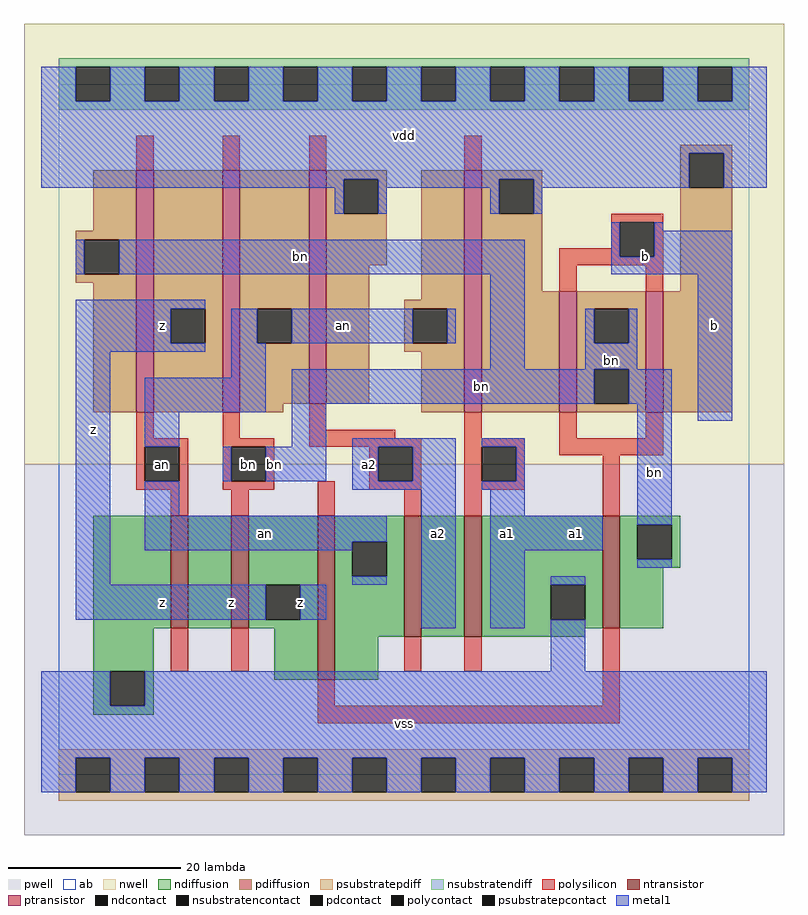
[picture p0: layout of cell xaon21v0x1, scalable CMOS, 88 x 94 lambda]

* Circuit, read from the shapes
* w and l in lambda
.subckt xaon21v0x1 a1 a2 an b bn vdd vss z
M1 n1 an vss vss nfet w=13 l=2
M2 z bn n1 vss nfet w=13 l=2
M3 an b z vss nfet w=19 l=2
M4 n2 a2 an vss nfet w=14 l=2
M5 vss a1 n2 vss nfet w=14 l=2
M6 bn b vss vss nfet w=13 l=2
M7 z an bn vdd pfet w=28 l=2
M8 an bn z vdd pfet w=28 l=2
M9 vdd a2 an vdd pfet w=27 l=2
M10 vdd a1 an vdd pfet w=28 l=2
M11 bn b vdd vdd pfet w=14 l=2 m=2
.ends

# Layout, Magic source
magic
tech scmos
<< ab >>
rect 0 0 80 80
<< pwell >>
rect -4 -7 84 36
<< nwell >>
rect -4 36 84 87
<< polysilicon >>
rect 9 70 11 74
rect 19 70 21 74
rect 29 70 31 74
rect 47 70 49 74
rect 9 39 11 42
rect 19 39 21 42
rect 29 40 31 43
rect 64 64 70 65
rect 64 61 65 64
rect 58 60 65 61
rect 69 60 70 64
rect 58 59 70 60
rect 58 56 60 59
rect 68 56 70 59
rect 29 39 39 40
rect 47 39 49 42
rect 58 39 60 42
rect 68 39 70 42
rect 9 38 15 39
rect 9 34 10 38
rect 14 34 15 38
rect 9 33 15 34
rect 19 38 25 39
rect 29 38 42 39
rect 19 34 20 38
rect 24 34 25 38
rect 36 34 37 38
rect 41 34 42 38
rect 19 33 25 34
rect 13 30 15 33
rect 20 30 22 33
rect 30 30 32 34
rect 36 33 42 34
rect 40 30 42 33
rect 47 38 54 39
rect 47 34 49 38
rect 53 34 54 38
rect 58 37 70 39
rect 47 33 54 34
rect 47 30 49 33
rect 63 30 65 37
rect 13 12 15 17
rect 20 12 22 17
rect 40 12 42 16
rect 47 12 49 16
rect 30 8 32 11
rect 63 8 65 17
rect 30 6 65 8
<< ndiffusion >>
rect 4 17 13 30
rect 15 17 20 30
rect 22 22 30 30
rect 22 18 24 22
rect 28 18 30 22
rect 22 17 30 18
rect 4 12 11 17
rect 4 8 6 12
rect 10 8 11 12
rect 25 11 30 17
rect 32 27 40 30
rect 32 23 34 27
rect 38 23 40 27
rect 32 16 40 23
rect 42 16 47 30
rect 49 22 63 30
rect 49 18 57 22
rect 61 18 63 22
rect 49 17 63 18
rect 65 29 72 30
rect 65 25 67 29
rect 71 25 72 29
rect 65 24 72 25
rect 65 17 70 24
rect 49 16 61 17
rect 32 11 37 16
rect 4 7 11 8
<< pdiffusion >>
rect 72 72 78 73
rect 4 63 9 70
rect 2 62 9 63
rect 2 58 3 62
rect 7 58 9 62
rect 2 57 9 58
rect 4 42 9 57
rect 11 54 19 70
rect 11 50 13 54
rect 17 50 19 54
rect 11 42 19 50
rect 21 54 29 70
rect 21 50 23 54
rect 27 50 29 54
rect 21 43 29 50
rect 31 69 38 70
rect 31 65 33 69
rect 37 65 38 69
rect 31 59 38 65
rect 31 43 36 59
rect 42 55 47 70
rect 40 54 47 55
rect 40 50 41 54
rect 45 50 47 54
rect 40 49 47 50
rect 21 42 26 43
rect 42 42 47 49
rect 49 69 56 70
rect 49 65 51 69
rect 55 65 56 69
rect 72 68 73 72
rect 77 68 78 72
rect 49 56 56 65
rect 72 56 78 68
rect 49 42 58 56
rect 60 54 68 56
rect 60 50 62 54
rect 66 50 68 54
rect 60 47 68 50
rect 60 43 62 47
rect 66 43 68 47
rect 60 42 68 43
rect 70 42 78 56
<< metal1 >>
rect -2 78 2 82
rect 6 78 10 82
rect 14 78 18 82
rect 22 78 26 82
rect 30 78 34 82
rect 38 78 42 82
rect 46 78 50 82
rect 54 78 58 82
rect 62 78 66 82
rect 70 78 74 82
rect 78 78 82 82
rect -2 72 82 78
rect -2 69 73 72
rect -2 68 33 69
rect 32 65 33 68
rect 37 68 51 69
rect 37 65 38 68
rect 50 65 51 68
rect 55 68 73 69
rect 77 68 82 72
rect 55 65 56 68
rect 2 58 3 62
rect 7 58 54 62
rect 64 60 65 64
rect 69 63 70 64
rect 69 60 78 63
rect 64 58 78 60
rect 2 54 17 55
rect 2 50 13 54
rect 2 49 17 50
rect 20 50 23 54
rect 27 50 41 54
rect 45 50 46 54
rect 2 22 6 49
rect 20 46 24 50
rect 50 47 54 58
rect 61 50 62 54
rect 66 50 67 54
rect 61 47 67 50
rect 10 42 24 46
rect 27 43 62 47
rect 66 43 71 47
rect 10 38 14 42
rect 27 38 31 43
rect 19 34 20 38
rect 24 34 31 38
rect 34 38 46 39
rect 34 34 37 38
rect 41 34 46 38
rect 10 30 14 34
rect 34 33 46 34
rect 49 38 54 39
rect 53 34 54 38
rect 49 33 54 34
rect 10 27 38 30
rect 10 26 34 27
rect 34 22 38 23
rect 2 18 24 22
rect 28 18 31 22
rect 42 17 46 33
rect 50 30 54 33
rect 50 26 63 30
rect 67 29 71 43
rect 74 41 78 58
rect 50 17 54 26
rect 67 24 71 25
rect 57 22 61 23
rect 57 12 61 18
rect -2 8 6 12
rect 10 8 82 12
rect -2 2 82 8
rect -2 -2 2 2
rect 6 -2 10 2
rect 14 -2 18 2
rect 22 -2 26 2
rect 30 -2 34 2
rect 38 -2 42 2
rect 46 -2 50 2
rect 54 -2 58 2
rect 62 -2 66 2
rect 70 -2 74 2
rect 78 -2 82 2
<< ntransistor >>
rect 13 17 15 30
rect 20 17 22 30
rect 30 11 32 30
rect 40 16 42 30
rect 47 16 49 30
rect 63 17 65 30
<< ptransistor >>
rect 9 42 11 70
rect 19 42 21 70
rect 29 43 31 70
rect 47 42 49 70
rect 58 42 60 56
rect 68 42 70 56
<< polycontact >>
rect 65 60 69 64
rect 10 34 14 38
rect 20 34 24 38
rect 37 34 41 38
rect 49 34 53 38
<< ndcontact >>
rect 24 18 28 22
rect 6 8 10 12
rect 34 23 38 27
rect 57 18 61 22
rect 67 25 71 29
<< pdcontact >>
rect 3 58 7 62
rect 13 50 17 54
rect 23 50 27 54
rect 33 65 37 69
rect 41 50 45 54
rect 51 65 55 69
rect 73 68 77 72
rect 62 50 66 54
rect 62 43 66 47
<< psubstratepcontact >>
rect 2 -2 6 2
rect 10 -2 14 2
rect 18 -2 22 2
rect 26 -2 30 2
rect 34 -2 38 2
rect 42 -2 46 2
rect 50 -2 54 2
rect 58 -2 62 2
rect 66 -2 70 2
rect 74 -2 78 2
<< nsubstratencontact >>
rect 2 78 6 82
rect 10 78 14 82
rect 18 78 22 82
rect 26 78 30 82
rect 34 78 38 82
rect 42 78 46 82
rect 50 78 54 82
rect 58 78 62 82
rect 66 78 70 82
rect 74 78 78 82
<< psubstratepdiff >>
rect 0 2 80 3
rect 0 -2 2 2
rect 6 -2 10 2
rect 14 -2 18 2
rect 22 -2 26 2
rect 30 -2 34 2
rect 38 -2 42 2
rect 46 -2 50 2
rect 54 -2 58 2
rect 62 -2 66 2
rect 70 -2 74 2
rect 78 -2 80 2
rect 0 -3 80 -2
<< nsubstratendiff >>
rect 0 82 80 83
rect 0 78 2 82
rect 6 78 10 82
rect 14 78 18 82
rect 22 78 26 82
rect 30 78 34 82
rect 38 78 42 82
rect 46 78 50 82
rect 54 78 58 82
rect 62 78 66 82
rect 70 78 74 82
rect 78 78 80 82
rect 0 77 80 78
<< labels >>
rlabel polycontact 12 36 12 36 6 an
rlabel polycontact 22 36 22 36 6 bn
rlabel metal1 4 40 4 40 6 z
rlabel metal1 12 20 12 20 6 z
rlabel metal1 20 20 20 20 6 z
rlabel metal1 28 20 28 20 6 z
rlabel polycontact 12 36 12 36 6 an
rlabel metal1 12 52 12 52 6 z
rlabel metal1 40 6 40 6 6 vss
rlabel metal1 24 28 24 28 6 an
rlabel metal1 44 28 44 28 6 a2
rlabel metal1 25 36 25 36 6 bn
rlabel metal1 36 36 36 36 6 a2
rlabel metal1 33 52 33 52 6 an
rlabel metal1 40 74 40 74 6 vdd
rlabel metal1 52 28 52 28 6 a1
rlabel metal1 60 28 60 28 6 a1
rlabel metal1 28 60 28 60 6 bn
rlabel metal1 69 35 69 35 6 bn
rlabel metal1 49 45 49 45 6 bn
rlabel metal1 76 52 76 52 6 b
rlabel metal1 64 48 64 48 6 bn
rlabel metal1 68 60 68 60 6 b
<< end >>
